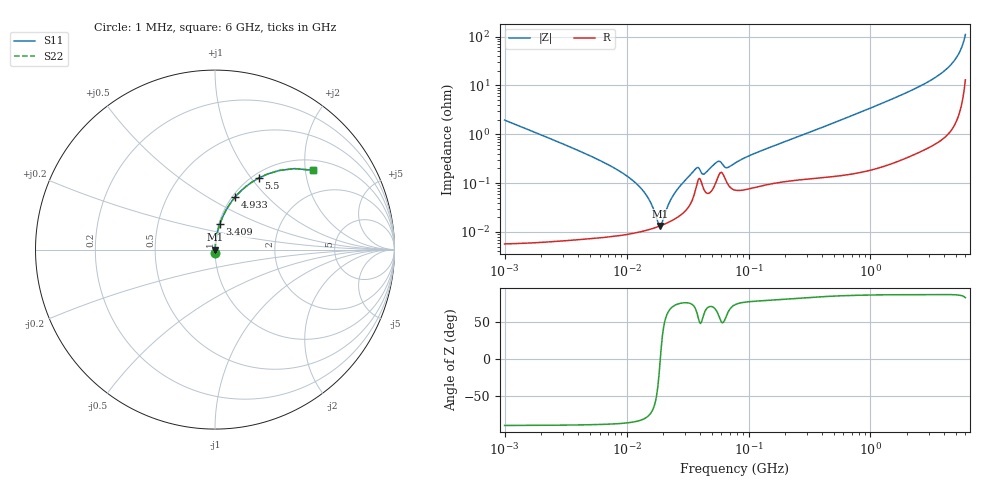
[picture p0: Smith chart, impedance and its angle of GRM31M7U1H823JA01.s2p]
!Murata Part Number: GRM31M7U1H823JA01
!These Parameters are Measured in Series Mode Connection
!Data Generated on Mar 30, 2021
!  o--ll--o
!Port1  Port2
!  o------o
!Operation Temp=25[degC], DC Bias Voltage=0[V]
!Freq. Start=1000[kHz] Stop=6[GHz] 401[Steps]
# Hz S RI R 50
!Freq.(Hz) S11(Real) S11(Imag) S21(Real) S21(Imag) S12(Real) S12(Imag) S22(Real) S22(Imag)
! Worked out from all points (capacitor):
!   401 points, 1 MHz to 6 GHz, reference 50 ohm
!   read as one part in series: C = 81.2 nF near 1.044 MHz
!   lowest |Z| = 13.3 mohm at 18.84 MHz (marker M1)
!   series resonance near 18.9 MHz, so ESL is about 870 pH
!   S11 on the Smith chart (normalised r, x): 1 MHz: 1.00, -0.04; 3.409 GHz: 1.01, +0.29; 4.933 GHz: 1.03, +0.68; 5.5 GHz: 1.07, +1.09; 6 GHz: 1.26, +2.20
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1000000  0.000438 -0.0195  0.9996 0.0195  0.9996 0.0195  0.000438 -0.0195
4293785  8.9e-05 -0.00432  0.9999 0.00432  0.9999 0.00432  8.9e-05 -0.00432
8067822  8.58e-05 -0.00199  0.9999 0.00199  0.9999 0.00199  8.58e-05 -0.00199
1.193364e7  9.69e-05 -0.000992  0.9999 0.000992  0.9999 0.000992  9.69e-05 -0.000992
1.515906e7  0.000111 -0.000465  0.9999 0.000465  0.9999 0.000465  0.000111 -0.000465
1.843659e7  0.00013 -5.22e-05  0.9999 5.22e-05  0.9999 5.22e-05  0.00013 -5.22e-05
1.884196e7  0.000133 -6.3e-06  0.9999 6.3e-06  0.9999 6.3e-06  0.000133 -6.3e-06
1.967962e7  0.000139 8.58e-05  0.9999 -8.58e-05  0.9999 -8.58e-05  0.000139 8.58e-05
2.194036e7  0.000157 0.00032  0.9998 -0.00032  0.9998 -0.00032  0.000157 0.00032
2.44608e7  0.00018 0.000564  0.9998 -0.000564  0.9998 -0.000564  0.00018 0.000564
3.697709e7  0.000774 0.00183  0.9992 -0.00183  0.9992 -0.00183  0.000774 0.00183
4.305766e7  0.000743 0.00133  0.9993 -0.00133  0.9993 -0.00133  0.000743 0.00133
5.589783e7  0.00129 0.00244  0.9987 -0.00244  0.9987 -0.00244  0.00129 0.00244
6.652088e7  0.00103 0.00179  0.999 -0.00179  0.999 -0.00179  0.00103 0.00179
7.745967e7  0.000723 0.00247  0.9993 -0.00247  0.9993 -0.00247  0.000723 0.00247
1.145757e8  0.000838 0.00406  0.9992 -0.00406  0.9992 -0.00406  0.000838 0.00406
3.325952e8  0.00136 0.0114  0.9986 -0.0114  0.9986 -0.0114  0.00136 0.0114
1.428092e9  0.00486 0.0496  0.9951 -0.0496  0.9951 -0.0496  0.00486 0.0496
3.408564e9  0.0269 0.1416  0.9731 -0.1416  0.9731 -0.1416  0.0269 0.1416
4.93336e9  0.1138 0.2946  0.8862 -0.2946  0.8862 -0.2946  0.1138 0.2946
5.500089e9  0.2433 0.3985  0.7567 -0.3985  0.7567 -0.3985  0.2433 0.3985
6e9  0.546 0.4421  0.454 -0.4421  0.454 -0.4421  0.546 0.4421
